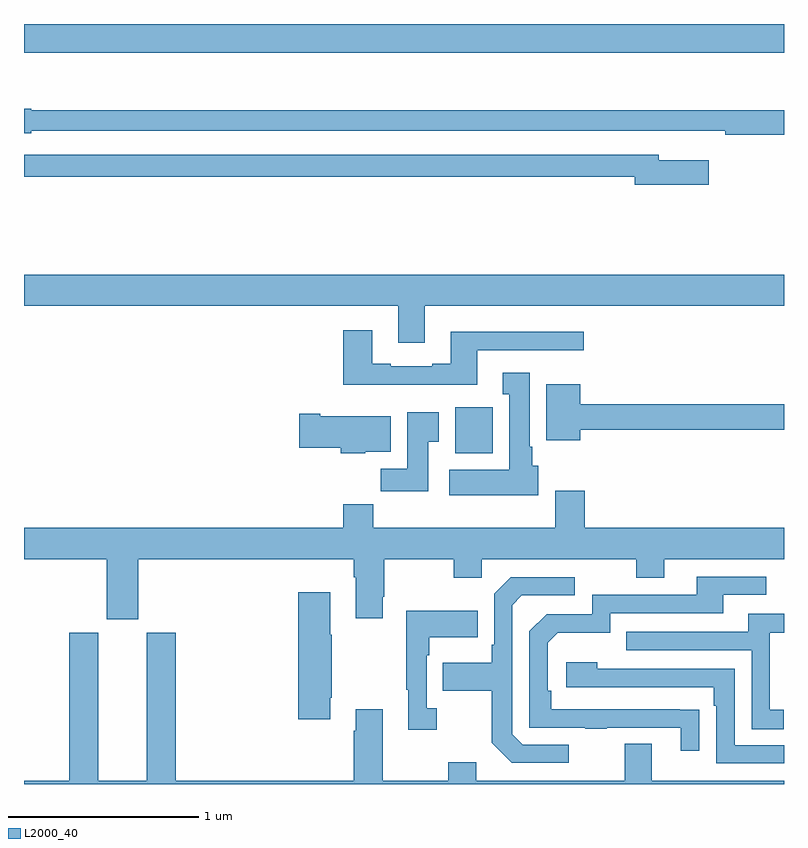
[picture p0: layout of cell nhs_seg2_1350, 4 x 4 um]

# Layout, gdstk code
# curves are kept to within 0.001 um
import gdstk
lib = gdstk.Library(unit=1e-6, precision=1e-09)
def R(c, l, rs):  # rectangles x0, y0, x1, y1
    for r in rs: c.add(gdstk.rectangle(r[:2], r[2:], *l))
def P(c, l, *ps):  # polygons
    for p in ps: c.add(gdstk.Polygon(p, *l))
L2000_40 = (2000, 40)

nhs_seg2_1350 = lib.new_cell('nhs_seg2_1350')
R(nhs_seg2_1350, L2000_40, [(183.269,633.542,183.466,633.784), (181,635.648,185,635.8)])
P(nhs_seg2_1350, L2000_40, [(185,635.347),(181.038,635.347),(181.038,635.355),(181,635.355),(181,635.225),(181.038,635.225),(181.038,635.238),(184.438,635.238),(184.438,635.237),(184.69,635.237),(184.69,635.218),(185,635.218)],
  [(184.603,635.083),(184.342,635.083),(184.342,635.112),(181,635.112),(181,634.996),(184.214,634.996),(184.214,634.954),(184.603,634.954)],
  [(183.109,634.316),(185,634.316),(185,634.48),(181,634.48),(181,634.316),(182.969,634.316),(182.969,634.122),(183.109,634.122)],
  [(183.385,634.083),(183.946,634.083),(183.946,634.18),(183.245,634.18),(183.245,634.012),(183.149,634.012),(183.149,633.999),(182.929,633.999),(182.929,634.012),(182.833,634.012),(182.833,634.189),(182.681,634.189),(182.681,633.902),(183.385,633.902)],
  [(183.706,633.474),(183.676,633.474),(183.676,633.574),(183.661,633.574),(183.661,633.964),(183.521,633.964),(183.521,633.851),(183.554,633.851),(183.554,633.454),(183.237,633.454),(183.237,633.32),(183.706,633.32)],
  [(183.928,633.664),(185,633.664),(185,633.8),(183.928,633.8),(183.928,633.904),(183.749,633.904),(183.749,633.608),(183.928,633.608)],
  [(183.127,633.601),(183.184,633.601),(183.184,633.757),(183.017,633.757),(183.017,633.46),(182.878,633.46),(182.878,633.342),(183.127,633.342)],
  [(182.796,633.548),(182.929,633.548),(182.929,633.736),(182.56,633.736),(182.56,633.749),(182.448,633.749),(182.448,633.571),(182.666,633.571),(182.666,633.542),(182.796,633.542)],
  [(182.837,633.272),(182.681,633.272),(182.681,633.148),(181,633.148),(181,632.984),(181.436,632.984),(181.436,632.667),(181.6,632.667),(181.6,632.984),(182.735,632.984),(182.735,632.888),(182.747,632.888),(182.747,632.673),(182.887,632.673),(182.887,632.785),(182.895,632.785),(182.895,632.984),(183.262,632.984),(183.262,632.885),(183.408,632.885),(183.408,632.984),(184.222,632.984),(184.222,632.885),(184.369,632.885),(184.369,632.984),(185,632.984),(185,633.148),(183.95,633.148),(183.95,633.343),(183.797,633.343),(183.797,633.148),(182.837,633.148)],
  [(184.553,632.192),(183.776,632.193),(183.776,632.29),(183.756,632.29),(183.756,632.544),(183.809,632.597),(184.086,632.597),(184.086,632.7),(184.681,632.7),(184.681,632.796),(184.906,632.796),(184.906,632.892),(184.541,632.892),(184.541,632.796),(183.99,632.796),(183.99,632.694),(183.75,632.694),(183.66,632.604),(183.66,632.097),(183.955,632.097),(183.955,632.092),(184.067,632.092),(184.067,632.097),(184.457,632.097),(184.457,631.974),(184.553,631.974)],
  [(183.868,632.007),(183.624,632.007),(183.57,632.061),(183.57,632.742),(183.621,632.793),(183.898,632.793),(183.898,632.889),(183.561,632.889),(183.474,632.802),(183.474,632.533),(183.462,632.533),(183.462,632.437),(183.205,632.437),(183.205,632.29),(183.462,632.29),(183.462,632.017),(183.567,631.911),(183.868,631.911)],
  [(182.611,632.254),(182.619,632.254),(182.619,632.585),(182.611,632.585),(182.611,632.809),(182.444,632.809),(182.444,632.142),(182.611,632.142)],
  [(183.172,632.198),(183.12,632.198),(183.12,632.477),(183.133,632.477),(183.133,632.573),(183.389,632.573),(183.389,632.713),(183.012,632.713),(183.012,632.297),(183.023,632.297),(183.023,632.085),(183.172,632.085)],
  [(184.999,632.19),(184.926,632.19),(184.926,632.595),(185,632.595),(185,632.695),(184.811,632.695),(184.811,632.601),(184.171,632.601),(184.171,632.505),(184.83,632.505),(184.83,632.089),(184.999,632.089)],
  [(185,631.816),(184.303,631.816),(184.303,632.011),(184.163,632.011),(184.163,631.816),(183.379,631.816),(183.379,631.915),(183.232,631.915),(183.232,631.816),(182.887,631.816),(182.887,632.194),(182.747,632.194),(182.747,632.081),(182.735,632.081),(182.735,631.816),(181.799,631.816),(181.799,632.595),(181.646,632.595),(181.646,631.816),(181.39,631.816),(181.39,632.595),(181.238,632.595),(181.238,631.816),(181,631.816),(181,631.8),(185,631.8)],
  [(185,632.004),(184.74,632.004),(184.74,632.406),(184.016,632.406),(184.016,632.44),(183.855,632.44),(183.855,632.31),(184.631,632.31),(184.631,632.213),(184.644,632.213),(184.644,631.908),(185,631.908)])

lib.write_gds('nhs_seg2_1350.gds')
